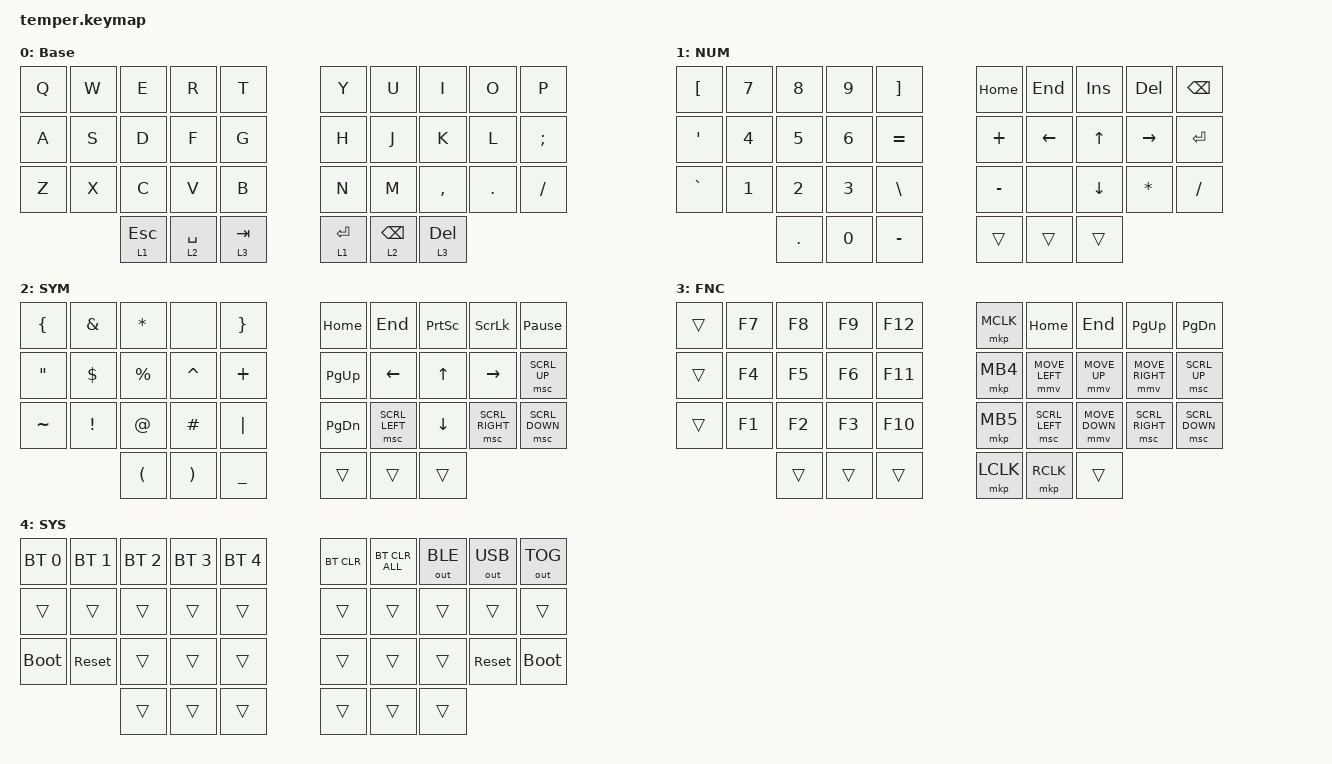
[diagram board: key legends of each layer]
/*
 * Copyright (c) 2020 duckyb
 *
 * SPDX-License-Identifier: MIT
 */

#include <dt-bindings/zmk/mouse.h>
#include <behaviors.dtsi>
#include <dt-bindings/zmk/bt.h>
#include <dt-bindings/zmk/keys.h>
#include <dt-bindings/zmk/outputs.h>
#include <dt-bindings/zmk/pointing.h>

#define Base 0
#define NAV_NUM 1
#define SYM 2
#define FUN 3

&sk { quick-release; };

&lt {
    flavor = "tap-preferred";
    quick-tap-ms = <180>;
};

&mt {
    quick-tap-ms = <150>;
    flavor = "tap-preferred";
};

/ {
    behaviors {
        hm: hm {
            compatible = "zmk,behavior-hold-tap";
            label = "HM";
            bindings = <&kp>, <&kp>;

            #binding-cells = <2>;
            quick-tap-ms = <170>;
            tapping-term-ms = <190>;
            global-quick-tap;
            flavor = "tap-preferred";
        };

        hml: hml {
            compatible = "zmk,behavior-hold-tap";
            label = "HML";
            bindings = <&kp>, <&kp>;

            #binding-cells = <2>;
            tapping-term-ms = <280>;
            quick-tap-ms = <175>;
            require-prior-idle-ms = <150>;
            flavor = "balanced";
            hold-trigger-on-release;
            hold-trigger-key-positions = <0 1 2 3 4 20 21 22 23 24 14 30 31 32 33 34 35 25 15 5 6 16 26 27 17 7 8 18 28 29 19 9>;
        };

        hmr: hmr {
            compatible = "zmk,behavior-hold-tap";
            label = "HMR";
            bindings = <&kp>, <&kp>;

            #binding-cells = <2>;
            tapping-term-ms = <280>;
            quick-tap-ms = <175>;
            require-prior-idle-ms = <150>;
            flavor = "balanced";
            hold-trigger-on-release;
            hold-trigger-key-positions = <0 10 20 21 1 11 12 2 3 4 24 14 13 23 22 30 31 32 33 34 35 25 26 28 27 29 9 8 7 6 5 15>;
        };

        mo_tog: mo_tog {
            compatible = "zmk,behavior-hold-tap";
            label = "MO_TOG";
            bindings = <&mo>, <&tog>;

            #binding-cells = <2>;
            tapping-term-ms = <200>;
            quick-tap-ms = <180>;
        };
    };

    combos {
        compatible = "zmk,combos";

        combo_esc {
            bindings = <&kp ESC>;
            key-positions = <0 1>;
            timeout-ms = <50>;
            require-prior-idle-ms = <100>;
            layers = <0 1 2 3>;
            slow-release;
        };

        combo_lshft {
            bindings = <&kp LSHIFT>;
            key-positions = <13 12>;
            timeout-ms = <50>;
            require-prior-idle-ms = <100>;
            layers = <0 1 2 3>;
            slow-release;
        };

        combo_lctrl {
            bindings = <&kp LCTRL>;
            key-positions = <12 11>;
            timeout-ms = <50>;
            require-prior-idle-ms = <100>;
            layers = <0 1 2 3>;
            slow-release;
        };

        combo_lalt {
            bindings = <&kp LALT>;
            key-positions = <11 10>;
            timeout-ms = <50>;
            require-prior-idle-ms = <100>;
            layers = <0 1 2 3>;
            slow-release;
        };

        combo_lwin {
            bindings = <&kp LWIN>;
            key-positions = <13 14>;
            timeout-ms = <50>;
            require-prior-idle-ms = <100>;
            layers = <0 1 2 3>;
            slow-release;
        };

        combo_rshft {
            bindings = <&kp LSHIFT>;
            key-positions = <16 17>;
            timeout-ms = <50>;
            require-prior-idle-ms = <100>;
            layers = <0 1 2 3>;
            slow-release;
        };

        combo_rctrl {
            bindings = <&kp LCTRL>;
            key-positions = <17 18>;
            timeout-ms = <50>;
            require-prior-idle-ms = <100>;
            layers = <0 1 2 3>;
            slow-release;
        };

        combo_ralt {
            bindings = <&kp LALT>;
            key-positions = <18 19>;
            timeout-ms = <50>;
            require-prior-idle-ms = <100>;
            layers = <0 1 2 3>;
            slow-release;
        };

        combo_rwin {
            bindings = <&kp LWIN>;
            key-positions = <15 16>;
            timeout-ms = <50>;
            require-prior-idle-ms = <100>;
            layers = <0 1 2 3>;
            slow-release;
        };

        combo_lshft_lctrl {
            bindings = <&kp LC(LSHIFT)>;
            key-positions = <13 11 12>;
            timeout-ms = <50>;
            require-prior-idle-ms = <100>;
            layers = <0 1 2 3>;
            slow-release;
        };

        combo_lshft_lalt {
            bindings = <&kp LA(LSHIFT)>;
            key-positions = <13 12 10>;
            timeout-ms = <50>;
            require-prior-idle-ms = <100>;
            layers = <0 1 2 3>;
            slow-release;
        };

        combo_lctrl_lalt {
            bindings = <&kp LA(LCTRL)>;
            key-positions = <12 10 11>;
            timeout-ms = <50>;
            require-prior-idle-ms = <100>;
            layers = <0 1 2 3>;
            slow-release;
        };

        combo_lctrl_lwin {
            bindings = <&kp LG(LCTRL)>;
            key-positions = <12 10 11 13>;
            timeout-ms = <50>;
            require-prior-idle-ms = <100>;
            layers = <0 1 2 3>;
            slow-release;
        };

        combo_rshft_rctrl {
            bindings = <&kp LC(LSHIFT)>;
            key-positions = <16 17 18>;
            timeout-ms = <50>;
            require-prior-idle-ms = <100>;
            layers = <0 1 2 3>;
            slow-release;
        };

        combo_rshft_ralt {
            bindings = <&kp LA(LSHIFT)>;
            key-positions = <16 17 19>;
            timeout-ms = <50>;
            require-prior-idle-ms = <100>;
            layers = <0 1 2 3>;
            slow-release;
        };

        combo_rctrl_ralt {
            bindings = <&kp LA(LCTRL)>;
            key-positions = <17 18 19>;
            timeout-ms = <50>;
            require-prior-idle-ms = <100>;
            layers = <0 1 2 3>;
            slow-release;
        };

        combo_rctrl_rwin {
            bindings = <&kp LG(LCTRL)>;
            key-positions = <19 17 18 16>;
            timeout-ms = <50>;
            require-prior-idle-ms = <100>;
            layers = <0 1 2 3>;
            slow-release;
        };

        combo_lang {
            bindings = <&kp RALT>;
            key-positions = <16 18>;
            timeout-ms = <50>;
            require-prior-idle-ms = <100>;
            layers = <0 1 2 3>;
            slow-release;
        };

        combo_hanja {
            bindings = <&kp RCTRL>;
            key-positions = <17 19>;
            timeout-ms = <50>;
            require-prior-idle-ms = <100>;
            layers = <0 1 2 3>;
            slow-release;
        };

        combo_undo {
            bindings = <&kp LC(Z)>;
            key-positions = <20 21>;
            timeout-ms = <50>;
            require-prior-idle-ms = <100>;
            layers = <0 1 2 3>;
            slow-release;
        };

        combo_copy {
            bindings = <&kp LC(C)>;
            key-positions = <21 22>;
            timeout-ms = <50>;
            require-prior-idle-ms = <100>;
            layers = <0 1 2 3>;
            slow-release;
        };

        combo_cut {
            bindings = <&kp LC(X)>;
            key-positions = <21 23>;
            timeout-ms = <50>;
            require-prior-idle-ms = <100>;
            layers = <0 1 2 3>;
            slow-release;
        };

        combo_paste {
            bindings = <&kp LC(V)>;
            key-positions = <23 22>;
            timeout-ms = <50>;
            require-prior-idle-ms = <100>;
            layers = <0 1 2 3>;
            slow-release;
        };

        combo_redo {
            bindings = <&kp LC(Y)>;
            key-positions = <23 24>;
            timeout-ms = <50>;
            require-prior-idle-ms = <100>;
            layers = <0 1 2 3>;
            slow-release;
        };

        combo_plus {
            bindings = <&kp PLUS>;
            key-positions = <4 14>;
            timeout-ms = <50>;
            require-prior-idle-ms = <100>;
            layers = <1>;
            slow-release;
        };

        combo_minus {
            bindings = <&kp MINUS>;
            key-positions = <3 13>;
            timeout-ms = <50>;
            require-prior-idle-ms = <100>;
            layers = <1>;
            slow-release;
        };

        combo_multiply {
            bindings = <&kp ASTRK>;
            key-positions = <2 12>;
            timeout-ms = <50>;
            require-prior-idle-ms = <100>;
            layers = <1>;
            slow-release;
        };

        combo_divide {
            bindings = <&kp SLASH>;
            key-positions = <1 11>;
            timeout-ms = <50>;
            require-prior-idle-ms = <100>;
            layers = <1>;
            slow-release;
        };

        combo_comma {
            bindings = <&kp COMMA>;
            key-positions = <13 23>;
            timeout-ms = <50>;
            require-prior-idle-ms = <100>;
            layers = <1>;
            slow-release;
        };

        combo_enter {
            bindings = <&kp ENTER>;
            key-positions = <14 24>;
            timeout-ms = <50>;
            require-prior-idle-ms = <100>;
            layers = <1>;
            slow-release;
        };

        combo_prev {
            bindings = <&mkp MB4>;
            key-positions = <16 26>;
            timeout-ms = <50>;
            require-prior-idle-ms = <100>;
            layers = <0 1 2 3>;
            slow-release;
        };

        combo_next {
            bindings = <&mkp MB5>;
            key-positions = <27 17>;
            timeout-ms = <50>;
            require-prior-idle-ms = <100>;
            layers = <0 1 2 3>;
            slow-release;
        };

        combl_lclk {
            bindings = <&mkp LCLK>;
            key-positions = <27 26>;
            timeout-ms = <50>;
            require-prior-idle-ms = <100>;
            layers = <0 1 2 3>;
            slow-release;
        };

        combo_rclk {
            bindings = <&mkp RCLK>;
            key-positions = <27 28>;
            timeout-ms = <50>;
            require-prior-idle-ms = <100>;
            layers = <0 1 2 3>;
            slow-release;
        };

        combo_mclk {
            bindings = <&mkp MCLK>;
            key-positions = <28 26>;
            timeout-ms = <50>;
            require-prior-idle-ms = <100>;
            layers = <0 1 2 3>;
            slow-release;
        };
    };

    keymap {
        compatible = "zmk,keymap";

        Base_layer {
            label = "Base";
            display-name = "Base";
            bindings = <
  &kp Q  &kp W  &kp E      &kp R        &kp T        &kp Y        &kp U       &kp I      &kp O    &kp P
  &kp A  &kp S  &kp D      &kp F        &kp G        &kp H        &kp J       &kp K      &kp L    &kp SEMI
  &kp Z  &kp X  &kp C      &kp V        &kp B        &kp N        &kp M       &kp COMMA  &kp DOT  &kp FSLH
                &lt 1 ESC  &lt 2 SPACE  &lt 3 TAB    &lt 1 ENTER  &lt 2 BSPC  &lt 3 DEL
            >;
        };

        Num_layer {
            display-name = "NUM";
            label = "NUM";
            bindings = <
  &kp LBKT   &kp N7  &kp N8   &kp N9  &kp RBKT     &kp HOME   &kp END   &kp INS   &kp DEL    &kp BSPC
  &kp SQT    &kp N4  &kp N5   &kp N6  &kp EQUAL    &kp PLUS   &kp LEFT  &kp UP    &kp RIGHT  &kp ENTER
  &kp GRAVE  &kp N1  &kp N2   &kp N3  &kp BSLH     &kp MINUS  &none     &kp DOWN  &kp ASTRK  &kp SLASH
                     &kp DOT  &kp N0  &kp MINUS    &trans     &trans    &trans
            >;
        };

        Sym_layer {
            label = "SYM";
            display-name = "SYM";
            bindings = <
  &kp LBRC   &kp AMPS  &kp ASTRK  &none      &kp RBRC     &kp HOME   &kp END         &kp PRINTSCREEN  &kp SCROLLLOCK   &kp PAUSE_BREAK
  &kp DQT    &kp DLLR  &kp PRCNT  &kp CARET  &kp PLUS     &kp PG_UP  &kp LEFT        &kp UP           &kp RIGHT        &msc SCRL_UP
  &kp TILDE  &kp EXCL  &kp AT     &kp HASH   &kp PIPE     &kp PG_DN  &msc SCRL_LEFT  &kp DOWN         &msc SCRL_RIGHT  &msc SCRL_DOWN
                       &kp LPAR   &kp RPAR   &kp UNDER    &trans     &trans          &trans
            >;
        };

        Fnc_layer {
            bindings = <
  &trans  &kp F7  &kp F8  &kp F9  &kp F12    &mkp MCLK  &kp HOME        &kp END         &kp PG_UP        &kp PG_DN
  &trans  &kp F4  &kp F5  &kp F6  &kp F11    &mkp MB4   &mmv MOVE_LEFT  &mmv MOVE_UP    &mmv MOVE_RIGHT  &msc SCRL_UP
  &trans  &kp F1  &kp F2  &kp F3  &kp F10    &mkp MB5   &msc SCRL_LEFT  &mmv MOVE_DOWN  &msc SCRL_RIGHT  &msc SCRL_DOWN
                  &trans  &trans  &trans     &mkp LCLK  &mkp RCLK       &trans
            >;

            label = "FNC";
        };

        Sys_layer {
            bindings = <
  &bt BT_SEL 0  &bt BT_SEL 1  &bt BT_SEL 2  &bt BT_SEL 3  &bt BT_SEL 4    &bt BT_CLR  &bt BT_CLR_ALL  &out OUT_BLE  &out OUT_USB  &out OUT_TOG
  &trans        &trans        &trans        &trans        &trans          &trans      &trans          &trans        &trans        &trans
  &bootloader   &sys_reset    &trans        &trans        &trans          &trans      &trans          &trans        &sys_reset    &bootloader
                              &trans        &trans        &trans          &trans      &trans          &trans
            >;

            label = "SYS";
        };
    };

    conditional_layers {
        compatible = "zmk,conditional-layers";

        Sys_layer {
            if-layers = <1 3>;
            then-layer = <4>;
        };
    };
};
